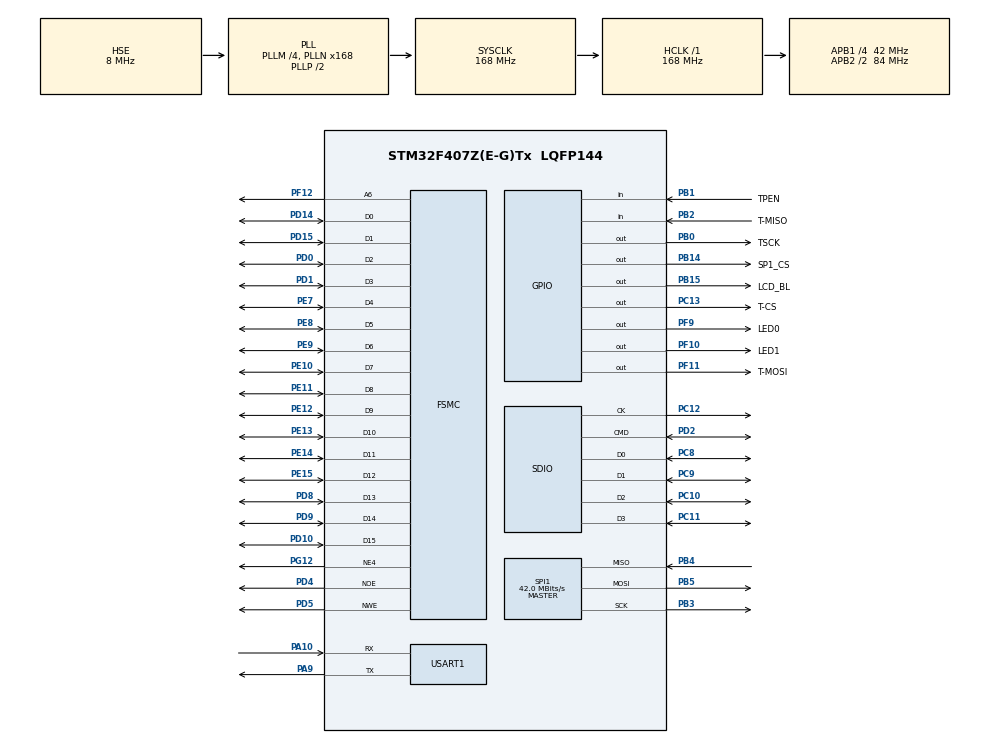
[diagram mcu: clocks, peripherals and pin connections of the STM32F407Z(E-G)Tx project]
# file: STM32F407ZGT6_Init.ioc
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FSMC.AddressSetupTime1=0x0F
FSMC.BusTurnAroundDuration1=0
FSMC.DataSetupTime1=60
FSMC.ExtendedAddressSetupTime1=9
FSMC.ExtendedBusTurnAroundDuration1=0
FSMC.ExtendedDataSetupTime1=9
FSMC.ExtendedMode1=FSMC_EXTENDED_MODE_ENABLE
Mcu.Family=STM32F4
Mcu.Name=STM32F407Z(E-G)Tx
Mcu.Package=LQFP144
NVIC.PriorityGroup=NVIC_PRIORITYGROUP_4
NVIC.USART1_IRQn=true\:2\:0\:true\:false\:true\:true\:true\:true
PA10.Mode=Asynchronous
PA10.Signal=USART1_RX
PA13.Mode=Serial_Wire
PA13.Signal=SYS_JTMS-SWDIO
PA14.Mode=Serial_Wire
PA14.Signal=SYS_JTCK-SWCLK
PA9.Mode=Asynchronous
PA9.Signal=USART1_TX
PB0.GPIO_Label=TSCK
PB0.Signal=GPIO_Output
PB1.GPIO_Label=TPEN
PB1.GPIO_PuPd=GPIO_PULLUP
PB1.Signal=GPIO_Input
PB14.GPIO_Label=SP1_CS
PB14.GPIO_PuPd=GPIO_PULLUP
PB14.GPIO_Speed=GPIO_SPEED_FREQ_MEDIUM
PB14.Signal=GPIO_Output
PB15.GPIO_Label=LCD_BL
PB15.Signal=GPIO_Output
PB2.GPIO_Label=T-MISO
PB2.GPIO_PuPd=GPIO_PULLUP
PB2.Signal=GPIO_Input
PB3.Mode=Full_Duplex_Master
PB3.Signal=SPI1_SCK
PB4.Mode=Full_Duplex_Master
PB4.Signal=SPI1_MISO
PB5.Mode=Full_Duplex_Master
PB5.Signal=SPI1_MOSI
PC10.Mode=SD_4_bits_Wide_bus
PC10.Signal=SDIO_D2
PC11.Mode=SD_4_bits_Wide_bus
PC11.Signal=SDIO_D3
PC12.Mode=SD_4_bits_Wide_bus
PC12.Signal=SDIO_CK
PC13-ANTI_TAMP.GPIO_Label=T-CS
PC13-ANTI_TAMP.Signal=GPIO_Output
PC14-OSC32_IN.Mode=LSE-External-Oscillator
PC14-OSC32_IN.Signal=RCC_OSC32_IN
PC15-OSC32_OUT.Mode=LSE-External-Oscillator
PC15-OSC32_OUT.Signal=RCC_OSC32_OUT
PC8.Mode=SD_4_bits_Wide_bus
PC8.Signal=SDIO_D0
PC9.Mode=SD_4_bits_Wide_bus
PC9.Signal=SDIO_D1
PD0.Signal=FSMC_D2_DA2
PD1.Signal=FSMC_D3_DA3
PD10.Signal=FSMC_D15_DA15
PD14.Signal=FSMC_D0_DA0
PD15.Signal=FSMC_D1_DA1
PD2.Mode=SD_4_bits_Wide_bus
PD2.Signal=SDIO_CMD
PD4.Signal=FSMC_NOE
PD5.Signal=FSMC_NWE
PD8.Signal=FSMC_D13_DA13
PD9.Signal=FSMC_D14_DA14
PE10.Signal=FSMC_D7_DA7
PE11.Signal=FSMC_D8_DA8
PE12.Signal=FSMC_D9_DA9
PE13.Signal=FSMC_D10_DA10
PE14.Signal=FSMC_D11_DA11
PE15.Signal=FSMC_D12_DA12
PE7.Signal=FSMC_D4_DA4
PE8.Signal=FSMC_D5_DA5
PE9.Signal=FSMC_D6_DA6
PF10.GPIO_Label=LED1
PF10.GPIO_PuPd=GPIO_PULLUP
PF10.Signal=GPIO_Output
PF11.GPIO_Label=T-MOSI
PF11.Signal=GPIO_Output
PF12.Signal=FSMC_A6
PF9.GPIO_Label=LED0
PF9.GPIO_PuPd=GPIO_PULLUP
PF9.Signal=GPIO_Output
PG12.Mode=NorPsramChipSelect4_1
PG12.Signal=FSMC_NE4
PH0-OSC_IN.Mode=HSE-External-Oscillator
PH0-OSC_IN.Signal=RCC_OSC_IN
PH1-OSC_OUT.Mode=HSE-External-Oscillator
PH1-OSC_OUT.Signal=RCC_OSC_OUT
ProjectManager.HeapSize=0x800
ProjectManager.StackSize=0x1000
ProjectManager.TargetToolchain=MDK-ARM V5.32
RCC.48MHZClocksFreq_Value=48000000
RCC.AHBFreq_Value=168000000
RCC.APB1CLKDivider=RCC_HCLK_DIV4
RCC.APB1Freq_Value=42000000
RCC.APB1TimFreq_Value=84000000
RCC.APB2CLKDivider=RCC_HCLK_DIV2
RCC.APB2Freq_Value=84000000
RCC.APB2TimFreq_Value=168000000
RCC.CortexFreq_Value=168000000
RCC.HCLKFreq_Value=168000000
RCC.HSE_VALUE=8000000
RCC.HSI_VALUE=16000000
RCC.PLLM=4
RCC.PLLN=168
RCC.PLLQ=7
RCC.PLLSourceVirtual=RCC_PLLSOURCE_HSE
RCC.RCC_RTC_Clock_Source=RCC_RTCCLKSOURCE_LSE
RCC.RCC_RTC_Clock_SourceVirtual=RCC_RTCCLKSOURCE_LSE
RCC.SYSCLKFreq_VALUE=168000000
RCC.SYSCLKSource=RCC_SYSCLKSOURCE_PLLCLK
RCC.VCOOutputFreq_Value=336000000
RTC.Date=16
RTC.Hours=23
RTC.Minutes=59
RTC.Month=RTC_MONTH_JULY
RTC.Seconds=40
RTC.WeekDay=RTC_WEEKDAY_TUESDAY
RTC.Year=24
SH.FSMC_A6.0=FSMC_A6,A6_1
SH.FSMC_D0_DA0.0=FSMC_D0,16b-d1
SH.FSMC_D10_DA10.0=FSMC_D10,16b-d1
SH.FSMC_D11_DA11.0=FSMC_D11,16b-d1
SH.FSMC_D12_DA12.0=FSMC_D12,16b-d1
SH.FSMC_D13_DA13.0=FSMC_D13,16b-d1
SH.FSMC_D14_DA14.0=FSMC_D14,16b-d1
SH.FSMC_D15_DA15.0=FSMC_D15,16b-d1
SH.FSMC_D1_DA1.0=FSMC_D1,16b-d1
SH.FSMC_D2_DA2.0=FSMC_D2,16b-d1
SH.FSMC_D3_DA3.0=FSMC_D3,16b-d1
SH.FSMC_D4_DA4.0=FSMC_D4,16b-d1
SH.FSMC_D5_DA5.0=FSMC_D5,16b-d1
SH.FSMC_D6_DA6.0=FSMC_D6,16b-d1
SH.FSMC_D7_DA7.0=FSMC_D7,16b-d1
SH.FSMC_D8_DA8.0=FSMC_D8,16b-d1
SH.FSMC_D9_DA9.0=FSMC_D9,16b-d1
SH.FSMC_NOE.0=FSMC_NOE,Lcd1
SH.FSMC_NWE.0=FSMC_NWE,Lcd1
SPI1.BaudRatePrescaler=SPI_BAUDRATEPRESCALER_2
SPI1.CalculateBaudRate=42.0 MBits/s
SPI1.Direction=SPI_DIRECTION_2LINES
SPI1.Mode=SPI_MODE_MASTER
SPI1.VirtualType=VM_MASTER
TIM6.Prescaler=83
USART1.VirtualMode=VM_ASYNC
VP_RTC_VS_RTC_Activate.Mode=RTC_Enabled
VP_RTC_VS_RTC_Calendar.Mode=RTC_Calendar
VP_TIM6_VS_ClockSourceINT.Mode=Enable_Timer
board=custom

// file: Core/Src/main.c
/* USER CODE BEGIN Header */
/**
  ******************************************************************************
  * @file           : main.c
  * @brief          : Main program body
  ******************************************************************************
  * @attention
  *
  * Copyright (c) 2024 STMicroelectronics.
  * All rights reserved.
  *
  * This software is licensed under terms that can be found in the LICENSE file
  * in the root directory of this software component.
  * If no LICENSE file comes with this software, it is provided AS-IS.
  *
  ******************************************************************************
  */
/* USER CODE END Header */
#include "main.h"
#include "rtc.h"
#include "sdio.h"
#include "spi.h"
#include "tim.h"
#include "usart.h"
#include "gpio.h"
#include "fsmc.h"

/* USER CODE BEGIN Includes */
#include "lcd.h"
#include "touch.h"
#include "w25qxx.h"
/* USER CODE END Includes */

/* USER CODE BEGIN PD */
#define BLOCK_SIZE   512                            //一个块的字节数
#define NUMBERS_PER_CHUNK 512  						//多少个数据存一次
#define INT_SIZE 1             						//一个数值占几个字节
#define BUFFER_SIZE (NUMBERS_PER_CHUNK * INT_SIZE)  //存一次sd卡的数组的大小（其实就是512）

uint8_t buffer_TX[NUMBERS_PER_CHUNK];  // 用于暂时存储需要发送到SD卡的数据
uint8_t buffer_RX[NUMBERS_PER_CHUNK];  // 用于接收从SD卡中读取来的数据
/* USER CODE END PD */

void SystemClock_Config(void);
/* USER CODE BEGIN PFP */
RTC_TimeTypeDef GetTime;
RTC_DateTypeDef GetData;
/* USER CODE END PFP */

/* USER CODE BEGIN 0 */
void SDIO_WRITE(void)
{
	uint16_t blockNum = 0;               // 起始块号

	/*--------------------------SD卡写测试----------------------------------*/
	for (int chunk = 0; chunk < 2; chunk++)
	{
			// 填充缓冲区
			for (int i = 0; i < NUMBERS_PER_CHUNK; i++)
			{
				buffer_TX[i] = i/2;
				printf("%d ",buffer_TX[i]);
			}

			// 计算写入的块数量
			uint32_t blocksToWrite = BUFFER_SIZE / BLOCK_SIZE; //（512*1=512）

			// 将数据写入SD卡
			if (HAL_SD_WriteBlocks(&hsd, (uint8_t *)buffer_TX, blockNum, 1, 10000) == HAL_OK)
			{
				while(HAL_SD_GetCardState(&hsd) != HAL_SD_CARD_TRANSFER);  //处于传输状态退出
				printf("\r\nWriteBlocks Successfully\r\n");
			}
			else
			{
					printf("WriteBlocks Failed\n");
			}
					blockNum += 1;  // 更新块号以写入下一个段
	}
}

void SDIO_READ(void)
{
	uint16_t blockNum = 0;  // 起始块号

	for (int chunk = 0; chunk < 2; chunk++)
	{
    // 计算读取的块数量
    uint32_t blocksToRead = BUFFER_SIZE / BLOCK_SIZE;

    // 从SD卡读取数据
    if (HAL_SD_ReadBlocks(&hsd, (uint8_t *)buffer_RX, blockNum, 1, 1000) == HAL_OK)
    {
        while(HAL_SD_GetCardState(&hsd) != HAL_SD_CARD_TRANSFER);//返回到传输状态退出
        printf("ReadBlocks Successfully\r\n");
	    for (int i = 0; i < NUMBERS_PER_CHUNK; i++)
	    {
				printf("%d ", buffer_RX[i]);
	    }
    }
    else
    {
        printf("WriteBlocks Failed\n");
    }
    blockNum += 1;  // 更新块号以读取下一个段
	}
}
/* USER CODE END 0 */

int main(void)
{
  /* USER CODE BEGIN 1 */
	char Data[50],Time[50];
  /* USER CODE END 1 */

  /* MCU Configuration--------------------------------------------------------*/

  /* Reset of all peripherals, Initializes the Flash interface and the Systick. */
  HAL_Init();

  /* Configure the system clock */
  SystemClock_Config();

  /* Initialize all configured peripherals */
  MX_GPIO_Init();
  MX_FSMC_Init();
  MX_USART1_UART_Init();
  MX_TIM6_Init();
  MX_SPI1_Init();
  MX_RTC_Init();
  MX_SDIO_SD_Init();
  /* USER CODE BEGIN 2 */
	LCD_Init();
	W25QXX_Init();
	GBK_Lib_Init();//硬件GBK字库初始化--(如果使用不带字库的液晶屏版本，此处可以屏蔽，不做字库初始化）
	tp_dev.init();				//触摸屏初始化
	// 开启串口接收中断
  HAL_UART_Receive_IT(&huart1, (uint8_t *)&usart1Recv.recvData, 1);
//	Demo_Menu();
	printf("W25Q16id is 0X%X",W25QXX_ReadID());
  /* USER CODE END 2 */

  /* Infinite loop */
  /* USER CODE BEGIN WHILE */
  while (1)
  {

		if(GetTime.Seconds == 59)
		{
			HAL_Delay(1000);
			LCD_Clear(WHITE);
			/* Get the RTC current Time */
			HAL_RTC_GetTime(&hrtc, &GetTime, RTC_FORMAT_BIN);//当秒是59的时候就刷新
			/* Get the RTC current Date */
			HAL_RTC_GetDate(&hrtc, &GetData, RTC_FORMAT_BIN);

		}else
		{
			/* Get the RTC current Time */
			HAL_RTC_GetTime(&hrtc, &GetTime, RTC_FORMAT_BIN);//当秒是59的时候就刷新
			/* Get the RTC current Date */
			HAL_RTC_GetDate(&hrtc, &GetData, RTC_FORMAT_BIN);

		}

		sprintf(Data,"%s%d%s%d%s%d%s","20",GetData.Year,"年", GetData.Month,"月",GetData.Date,"日");
		sprintf(Time,"%s%d%s%d%s%d","时间",GetTime.Hours,":",GetTime.Minutes,":",GetTime.Seconds);
		GBK_Show_Str(0,80,240,32,Data,32,BLUE,WHITE,0);
		GBK_Show_Str(0,150,240,32,Time,32,BLUE,WHITE,0);
		if(TP_Scan(1))
			printf("x is 0x%X,y is 0x%X\r\n",tp_dev.x[0],tp_dev.y[0]);
		if(usart1Recv.recvFlag == 1)
		{
			usart1Recv.recvFlag = 0;
			if(strcmp(usart1Recv.recvBuff, "LED\r") == 0)
			{
				// 发送数据
				printf(usart1Recv.recvBuff);
				printf("temp is %d\r\n",temp);
				HAL_GPIO_TogglePin(LED0_GPIO_Port,LED0_Pin);
				HAL_GPIO_TogglePin(LED1_GPIO_Port,LED1_Pin);
			}
			if(strcmp(usart1Recv.recvBuff, "Write\r") == 0)
			{
				// 发送数据
				printf(usart1Recv.recvBuff);
				SDIO_WRITE();
			}
			if(strcmp(usart1Recv.recvBuff, "Read\r") == 0)
			{
				// 发送数据
				printf(usart1Recv.recvBuff);
				SDIO_READ();
			}
			// 发送数据
			printf("UART_FLAG\r\n");
			memset(usart1Recv.recvBuff,0,sizeof(usart1Recv.recvBuff));
		}
    /* USER CODE END WHILE */

  }
}

void SystemClock_Config(void)
{
  RCC_OscInitTypeDef RCC_OscInitStruct = {0};
  RCC_ClkInitTypeDef RCC_ClkInitStruct = {0};

  /** Configure the main internal regulator output voltage
  */
  __HAL_RCC_PWR_CLK_ENABLE();
  __HAL_PWR_VOLTAGESCALING_CONFIG(PWR_REGULATOR_VOLTAGE_SCALE1);

  /** Initializes the RCC Oscillators according to the specified parameters
  * in the RCC_OscInitTypeDef structure.
  */
  RCC_OscInitStruct.OscillatorType = RCC_OSCILLATORTYPE_HSE|RCC_OSCILLATORTYPE_LSE;
  RCC_OscInitStruct.HSEState = RCC_HSE_ON;
  RCC_OscInitStruct.LSEState = RCC_LSE_ON;
  RCC_OscInitStruct.PLL.PLLState = RCC_PLL_ON;
  RCC_OscInitStruct.PLL.PLLSource = RCC_PLLSOURCE_HSE;
  RCC_OscInitStruct.PLL.PLLM = 4;
  RCC_OscInitStruct.PLL.PLLN = 168;
  RCC_OscInitStruct.PLL.PLLP = RCC_PLLP_DIV2;
  RCC_OscInitStruct.PLL.PLLQ = 7;
  if (HAL_RCC_OscConfig(&RCC_OscInitStruct) != HAL_OK)
  {
    Error_Handler();
  }

  /** Initializes the CPU, AHB and APB buses clocks
  */
  RCC_ClkInitStruct.ClockType = RCC_CLOCKTYPE_HCLK|RCC_CLOCKTYPE_SYSCLK
                              |RCC_CLOCKTYPE_PCLK1|RCC_CLOCKTYPE_PCLK2;
  RCC_ClkInitStruct.SYSCLKSource = RCC_SYSCLKSOURCE_PLLCLK;
  RCC_ClkInitStruct.AHBCLKDivider = RCC_SYSCLK_DIV1;
  RCC_ClkInitStruct.APB1CLKDivider = RCC_HCLK_DIV4;
  RCC_ClkInitStruct.APB2CLKDivider = RCC_HCLK_DIV2;

  if (HAL_RCC_ClockConfig(&RCC_ClkInitStruct, FLASH_LATENCY_5) != HAL_OK)
  {
    Error_Handler();
  }
}

void Error_Handler(void)
{
  __disable_irq();
  while (1)
  {
  }
}
